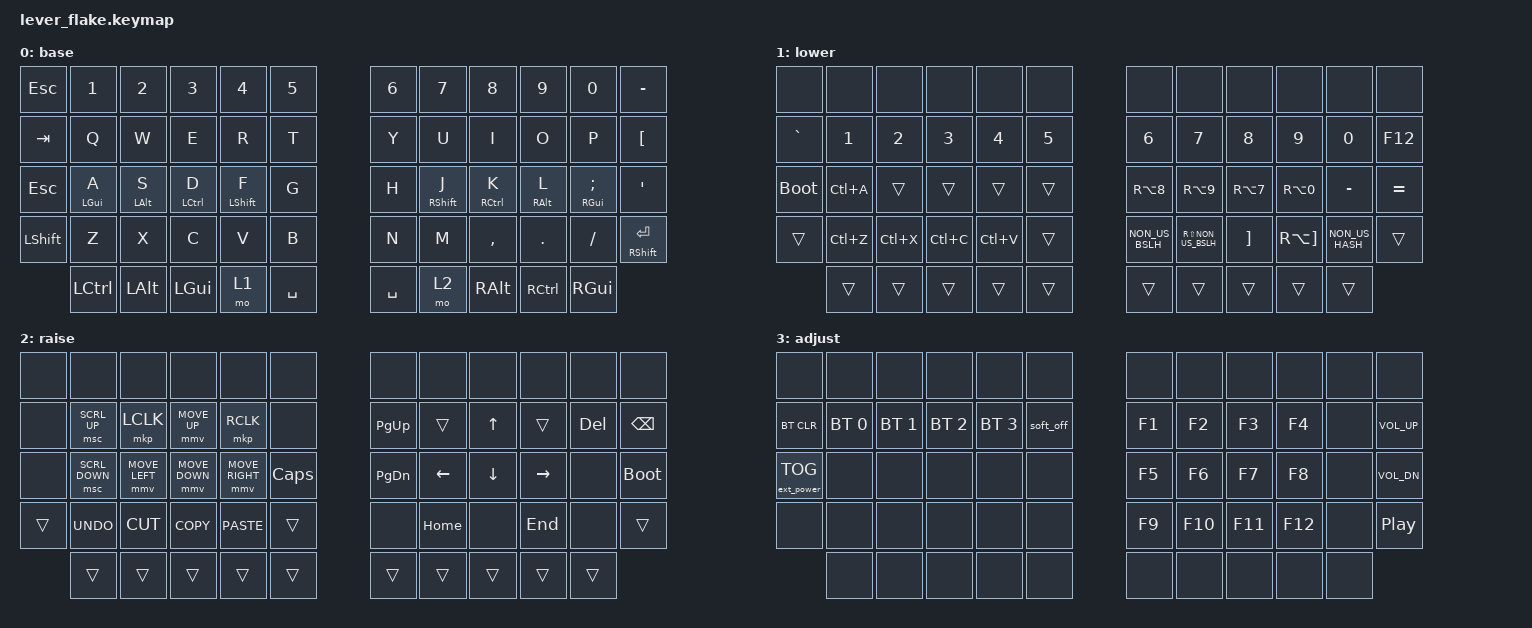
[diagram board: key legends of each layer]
#include <behaviors.dtsi>
#include <dt-bindings/zmk/bt.h>
#include <dt-bindings/zmk/ext_power.h>
#include <dt-bindings/zmk/keys.h>
#include <dt-bindings/zmk/pointing.h>

#define BASE 0
#define LOWER 1
#define RAISE 2
#define ADJUST 3

/ {

    // Activate ADJUST layer by pressing raise and lower
    conditional_layers {
        compatible = "zmk,conditional-layers";

        adjust_layer {
            if-layers = <LOWER RAISE>;
            then-layer = <ADJUST>;
        };
    };

    combos {
        compatible = "zmk,combos";

        OpenParenthesis {
            bindings = <&kp LS(NUMBER_8)>;
            //key-positions = <6 7>;
            key-positions = <18 19>;
        };

        CloseParenthesis {
            bindings = <&kp LS(NUMBER_9)>;
            //key-positions = <7 8>;
            key-positions = <19 20>;
        };

        OpenBrace {
            bindings = <&kp RA(NUMBER_7)>;
            //key-positions = <18 19>;
            key-positions = <30 31>;
        };

        CloseBrace {
            bindings = <&kp RA(NUMBER_0)>;
            //key-positions = <19 20>;
            key-positions = <31 32>;
        };

        OpenBraket {
            bindings = <&kp RA(NUMBER_8)>;
            //key-positions = <30 31>;
            key-positions = <42 43>;
        };

        CloseBraket {
            bindings = <&kp RA(NUMBER_9)>;
            //key-positions = <31 32>;
            key-positions = <43 44>;
        };

        LessThan {
            bindings = <&kp NON_US_BSLH>;
            //key-positions = <24 25>;
            key-positions = <36 37>;
        };

        GreaterThan {
            bindings = <&kp RS(NON_US_BSLH)>;
            //key-positions = <25 26>;
            key-positions = <37 38>;
        };

        Backspace {
            bindings = <&kp BACKSPACE>;
            //key-positions = <10 11>;
            key-positions = <22 23>;
        };

        //bt_sel_3 {
        //    bindings = <&bt3>;
        //    key-positions = <42 30>;
        //    layers = <2>;
        //};
        //bt_sel_4 {
        //    bindings = <&bt4>;
        //    key-positions = <30 18>;
        //    layers = <2>;
        //};
        //enter_gaming {
        //    bindings = <&sl 3>;
        //    key-positions = <26 15 28>;
        //    layers = <2>;
        //};
        //leave_gaming {
        //    bindings = <&sl 0>;
        //    key-positions = <31 20 33>;
        //    layers = <4>;
        //};
        //grave {
        //    bindings = <&kp GRAVE>;
        //    key-positions = <13 25>;
        //    layers = <3>;
        //};
    };

    macros {
        bt_clr_0: bt_clr_0 {
            compatible = "zmk,behavior-macro";
            #binding-cells = <0>;
            bindings = <&bt BT_SEL 0 &bt BT_CLR>;
            label = "BT_CLR_0";
        };

        bt_clr_1: bt_clr_1 {
            compatible = "zmk,behavior-macro";
            #binding-cells = <0>;
            bindings = <&bt BT_SEL 1 &bt BT_CLR>;
            label = "BT_CLR_1";
        };

        bt_clr_2: bt_clr_2 {
            compatible = "zmk,behavior-macro";
            #binding-cells = <0>;
            bindings = <&bt BT_SEL 2 &bt BT_CLR>;
            label = "BT_CLR_2";
        };

        bt_clr_3: bt_clr_3 {
            compatible = "zmk,behavior-macro";
            #binding-cells = <0>;
            bindings = <&bt BT_SEL 3 &bt BT_CLR>;
            label = "BT_CLR_3";
        };

        bt_clr_4: bt_clr_4 {
            compatible = "zmk,behavior-macro";
            #binding-cells = <0>;
            bindings = <&bt BT_SEL 4 &bt BT_CLR>;
            label = "BT_CLR_4";
        };
    };

    behaviors {
        hml: home_row_mod_left {
            compatible = "zmk,behavior-hold-tap";
            #binding-cells = <2>;
            flavor = "balanced";
            require-prior-idle-ms = <150>;
            tapping-term-ms = <280>;
            quick-tap-ms = <175>;
            bindings = <&kp>, <&kp>;
            hold-trigger-key-positions = < 6 7 8 9 10 11  18 19 20 21 22 23  30 31 32 33 34 35  40 41 >; // List of keys on the right side of the keyboard
            hold-trigger-on-release;
        };
        hmr: home_row_mod_right {
            compatible = "zmk,behavior-hold-tap";
            #binding-cells = <2>;
            flavor = "balanced";
            require-prior-idle-ms = <150>;
            tapping-term-ms = <280>;
            quick-tap-ms = <175>;
            bindings = <&kp>, <&kp>;
            hold-trigger-key-positions = < 0 1 2 3 4 5  12 13 14 15 16 17  24 25 26 27 28 29  40 41 >; // List of keys on the left side of the keyboard
            hold-trigger-on-release;
        };

        bt0: bt0 {
            compatible = "zmk,behavior-mod-morph";
            label = "BT0";
            bindings = <&bt BT_SEL 0>, <&bt_clr_0>;

            #binding-cells = <0>;
            mods = <(MOD_LSFT|MOD_RSFT)>;
        };

        bt1: bt1 {
            compatible = "zmk,behavior-mod-morph";
            label = "BT1";
            bindings = <&bt BT_SEL 1>, <&bt_clr_1>;

            #binding-cells = <0>;
            mods = <(MOD_LSFT|MOD_RSFT)>;
        };

        bt2: bt2 {
            compatible = "zmk,behavior-mod-morph";
            label = "BT2";
            bindings = <&bt BT_SEL 2>, <&bt_clr_2>;

            #binding-cells = <0>;
            mods = <(MOD_LSFT|MOD_RSFT)>;
        };

        bt3: bt3 {
            compatible = "zmk,behavior-mod-morph";
            label = "BT3";
            bindings = <&bt BT_SEL 3>, <&bt_clr_3>;

            #binding-cells = <0>;
            mods = <(MOD_LSFT|MOD_RSFT)>;
        };

        bt4: bt4 {
            compatible = "zmk,behavior-mod-morph";
            label = "BT4";
            bindings = <&bt BT_SEL 4>, <&bt_clr_4>;

            #binding-cells = <0>;
            mods = <(MOD_LSFT|MOD_RSFT)>;
        };
    };

    keymap {
        compatible = "zmk,keymap";

        default_layer {
            display-name = "base";
            // ------------------------------------------------------------------------------------------
            // |  TAB |  Q  |  W  |  E  |  R  |  T  |               |  Y  |  U  |  I  |  O  |  P  |  Å  |
            // |  ESC |  A  |  S  |  D  |  F  |  G  |               |  H  |  J  |  K  |  L  |  Ø  |  Æ  |
            // | L_SH |  Z  |  X  |  C  |  V  |  B  |               |  N  |  M  |  ,  |  .  |  -  | ENT |
            //              | CTR | ALT |  OS |  L1 | SPC |   | SPC |  L2 | CTR | ALT | GUI |
            bindings = <
&kp ESC    &kp N1    &kp N2    &kp N3     &kp N4     &kp N5    &kp N6  &kp N7     &kp N8     &kp N9    &kp N0     &kp MINUS
&kp TAB    &kp Q   &kp W         &kp E         &kp R      &kp T                             &kp Y   &kp U          &kp I      &kp O     &kp P     &kp LEFT_BRACKET
&kp ESC    &hml LGUI A  &hml LALT S  &hml LCTRL D  &hml LSHIFT F  &kp G              &kp H  &hmr RSHIFT J  &hmr RCTRL K  &hmr RALT L  &hmr RGUI SEMI  &kp SQT
&kp LSHFT  &kp Z   &kp X         &kp C         &kp V      &kp B                             &kp N   &kp M          &kp COMMA  &kp DOT   &kp FSLH  &mt RSHIFT ENTER
                   &kp LCTRL     &kp LEFT_ALT  &kp LGUI   &mo 1   &kp SPACE     &kp SPACE   &mo 2   &kp RIGHT_ALT  &kp RCTRL  &kp RGUI
            >;
        };

        lower_layer {
            display-name = "lower";
            // ------------------------------------------------------------------------------------------
            // |   |  |  1  |  2  |  3  |  4  |  5  |               |  6  |  7  |  8  |  9  |  0  | F12 |
            // |BLDR_L|     |     |     |     |     |               |  ^  |  &  |  *  |  (  |  )  |  |  |
            // |      |     |     |     |     |     |               |  [  |  ]  |  ;  |  :  |  \  |     |
            //              |     |     |     |     |     |   |     |     |     |     |     |
            bindings = <
&none  &none    &none   &none   &none   &none             &none  &none       &none         &none         &none         &none
&kp GRAVE   &kp N1    &kp N2     &kp N3     &kp N4     &kp N5                    &kp N6           &kp N7               &kp N8             &kp N9                 &kp N0           &kp F12
&bootloader &kp LC(A) &trans     &trans     &trans     &trans                    &kp RA(N8)       &kp RA(N9)           &kp RA(N7)         &kp RA(N0)             &kp MINUS        &kp EQUAL
&trans      &kp LC(Z) &kp LC(X)  &kp LC(C)  &kp LC(V)  &trans                    &kp NON_US_BSLH  &kp RS(NON_US_BSLH)  &kp RIGHT_BRACKET  &kp RA(RIGHT_BRACKET)  &kp NON_US_HASH  &trans
                      &trans     &trans     &trans     &trans  &trans    &trans  &trans           &trans               &trans             &trans
            >;
        };


        raise_layer {
            display-name = "raise";
            // ------------------------------------------------------------------------------------------
            // |      | SCRL_UP | LCLK|  ^  | RCLK|     |               | PGUP|     |  ^  |     | DEL |BKSPC |
            // |      | SCRL_DN |  <- |  v  |  -> | CAPS|               | PGDN|  J  |  v  |  -> |     |BLDR_R|
            // |      |         |     |     |     |     |               |     | HOME|     | END |     |      |
            //                  |     |     |     |     |     |   |     |     |     |     |     |
            bindings = <
&none  &none    &none   &none   &none   &none             &none  &none       &none         &none         &none         &none
&none   &msc SCRL_UP    &mkp LCLK       &mmv MOVE_UP    &mkp RCLK        &none                      &kp PG_UP  &trans    &kp UP    &trans     &kp DELETE   &kp BACKSPACE
&none   &msc SCRL_DOWN  &mmv MOVE_LEFT  &mmv MOVE_DOWN  &mmv MOVE_RIGHT  &kp CAPS                    &kp PG_DN  &kp LEFT  &kp DOWN  &kp RIGHT  &none   &bootloader
&trans  &kp K_UNDO      &kp K_CUT       &kp K_COPY      &kp K_PASTE      &trans                      &none      &kp HOME  &none     &kp END    &none   &trans
                        &trans          &trans          &trans           &trans    &trans    &trans  &trans     &trans    &trans    &trans
            >;
        };

        adjust_layer {
            display-name = "adjust";
            // ------------------------------------------------------------------------------------------
            // | BTCLR| BT1 | BT2 | BT3 | BT4 | BT5 |               | F1  | F2  | F3  | F4  |     | VOL_UP |
            // |      |     |     |     |     |     |               | F5  | F6  | F7  | F8  |     | VOL_DN |
            // |      |     |     |     |     |     |               | F9  | F10 | F11 | F12 |     | PAUSE  |
            //              |     |     |     |     |     |   |     |     |     |     |     |
            bindings = <
&none  &none    &none   &none   &none   &none             &none  &none       &none         &none         &none         &none
&bt BT_CLR  &bt BT_SEL 0  &bt BT_SEL 1  &bt BT_SEL 2  &bt BT_SEL 3  &soft_off                   &kp F1      &kp F2      &kp F3      &kp F4      &none      &kp C_VOL_UP
&ext_power EP_TOG   &none   &none   &none       &none       &none                               &kp F5      &kp F6      &kp F7      &kp F8      &none       &kp C_VOL_DN
&none       &none       &none       &none       &none       &none                               &kp F9      &kp F10     &kp F11     &kp F12     &none       &kp C_PLAY_PAUSE
                        &none       &none       &none       &none       &none       &none       &none       &none       &none       &none
            >;
        };

//        base {
//            bindings = <
//&kp ESC    &kp N1    &kp N2    &kp N3     &kp N4     &kp N5    &kp N6  &kp N7     &kp N8     &kp N9    &kp N0     &kp MINUS
//&kp ENTER  &kp Q     &kp W     &kp E      &kp R      &kp T     &kp Y   &kp U      &kp I      &kp O     &kp P      &kp BSPC
//&kp TAB    &kp A     &kp S     &kp D      &kp F      &kp G     &kp H   &kp J      &kp K      &kp L     &kp SEMI   &kp APOS
//&kp LBKT   &kp Z     &kp X     &kp C      &kp V      &kp B     &kp N   &kp M      &kp COMMA  &kp DOT   &kp FSLH   &kp RBKT
//           &kp LGUI  &kp LALT  &kp LCTRL  &kp SPACE  &mo 1     &mo 2   &kp LSHFT  &kp LGUI   &kp LALT  &kp LCTRL
//            >;
//        };
//        num {
//            bindings = <
//&none  &none     &none          &none      &none      &none       &none      &none   &none   &none   &none      &none
//&none  &kp ESC   &kp BACKSPACE  &kp TAB    &kp ENTER  &kp DEL     &kp GRAVE  &kp N7  &kp N8  &kp N9  &kp MINUS  &none
//&none  &kp LGUI  &kp LALT       &kp LCTRL  &kp LSHFT  &kp LBKT    &kp EQUAL  &kp N4  &kp N5  &kp N6  &kp N0     &none
//&none  &kp LEFT  &kp DOWN       &kp UP     &kp RIGHT  &kp RBKT    &kp SQT    &kp N1  &kp N2  &kp N3  &kp BSLH   &none
//       &trans    &trans         &trans     &trans     &none       &none      &trans  &trans  &trans  &trans
//            >;
//        };
//        fn {
//            bindings = <
//&none  &none    &none   &none   &none   &none             &none  &none       &none         &none         &none         &none
//&none  &kp F12  &kp F7  &kp F8  &kp F9  &soft_off         &bt2   &kp C_MUTE  &kp C_VOL_DN  &kp C_VOL_UP  &kp C_BRI_UP  &none
//&none  &kp F10  &kp F4  &kp F5  &kp F6  &kp CAPS          &bt1   &kp RSHFT   &kp RCTRL     &kp RALT      &kp RGUI      &none
//&none  &kp F11  &kp F1  &kp F2  &kp F3  &studio_unlock    &bt0   &kp C_PP    &kp C_PREV    &kp C_NEXT    &kp C_BRI_DN  &none
//       &trans   &trans  &trans  &trans  &none             &none  &trans      &trans        &trans        &trans
//            >;
//        };
//        gaming {
//            bindings = <
//&kp ESC    &kp N1     &kp N2  &kp N3  &kp N4     &kp N5    &kp N6  &kp N7     &kp N8     &kp N9    &kp N0     &kp MINUS
//&kp CAPS   &kp TAB    &kp Q   &kp W   &kp E      &kp R     &kp Y   &kp U      &kp I      &kp O     &kp P      &kp BSPC
//&kp ENTER  &kp LSHFT  &kp A   &kp S   &kp D      &kp F     &kp H   &kp J      &kp K      &kp L     &kp SEMI   &kp APOS
//&kp LBKT   &kp LCTRL  &kp Z   &kp X   &kp C      &kp V     &kp N   &kp M      &kp COMMA  &kp DOT   &kp FSLH   &kp RBKT
//           &kp T      &kp G   &kp B   &kp SPACE  &mo 4     &mo 2   &kp LSHFT  &kp LGUI   &kp LALT  &kp LCTRL
//            >;
//        };
//        gaming_num {
//            bindings = <
//&trans  &trans   &trans    &trans    &trans     &trans     &trans  &trans  &trans  &trans  &trans  &trans
//&trans  &kp ESC  &kp BSPC  &kp CAPS  &kp ENTER  &kp DEL    &trans  &trans  &trans  &trans  &trans  &trans
//&trans  &kp N1   &kp N2    &kp N3    &kp N4     &kp N5     &trans  &trans  &trans  &trans  &trans  &trans
//&trans  &kp N6   &kp N7    &kp N8    &kp N9     &kp N0     &trans  &trans  &trans  &trans  &trans  &trans
//        &trans   &trans    &trans    &trans     &trans     &trans  &trans  &trans  &trans  &trans
//            >;
//        };

    };
};
